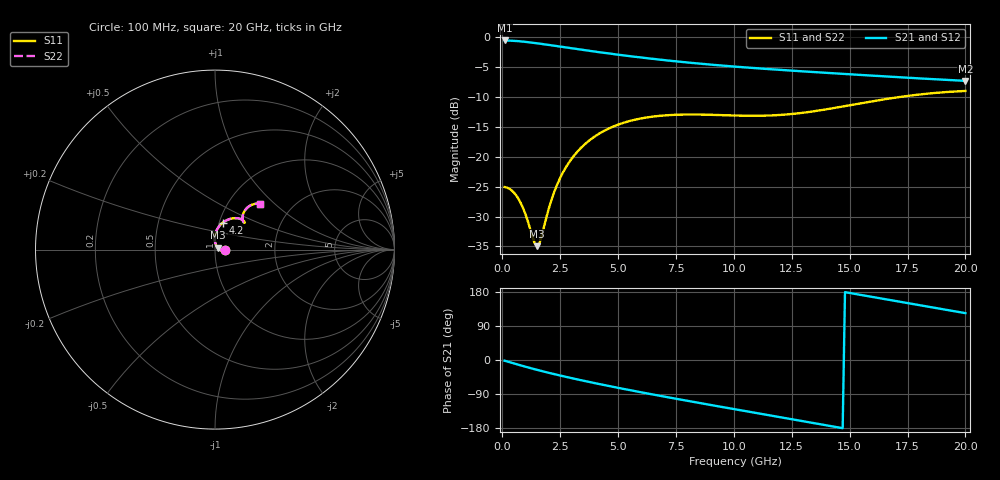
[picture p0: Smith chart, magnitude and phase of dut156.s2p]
! Created with skrf 1.9.0 (http://scikit-rf.org).
# GHz S RI R 50.0
!freq ReS11 ImS11 ReS21 ImS21 ReS12 ImS12 ReS22 ImS22
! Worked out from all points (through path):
!   200 points, 100 MHz to 20 GHz, reference 50 ohm
!   highest |S21| = -0.50 dB at 100 MHz (marker M1); lowest = -7.3 dB at 20 GHz (marker M2)
!   group delay of S21, straight-line fit = 31.4 ps
!   lowest |S11| = -35.0 dB at 1.5 GHz (marker M3), VSWR 1.04, Z = 51.4 + j1.12 ohm
!   |S11| at or under -10 dB: start of sweep to 17.12 GHz
!   |S22| runs from -35.0 to -9.0 dB; largest |S21 - S12| = 2.3e-15
!   S11 on the Smith chart (normalised r, x): 100 MHz: 1.12, -0.00; 4.2 GHz: 1.04, +0.32; 20 GHz: 1.39, +0.81
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0.1  0.0558 -0.00123  0.9431 -0.0304  0.9431 -0.0304  0.0558 -0.00123
0.4  0.0521 -0.00559  0.9315 -0.1189  0.9315 -0.1189  0.0521 -0.00559
0.7  0.0438 -0.00719  0.908 -0.2029  0.908 -0.2029  0.0438 -0.00719
1  0.0328 -0.00441  0.8746 -0.2803  0.8746 -0.2803  0.0328 -0.00441
1.4  0.0176 0.00681  0.8187 -0.3712  0.8187 -0.3712  0.0176 0.00681
1.5  0.0142 0.0108  0.8032 -0.3916  0.8032 -0.3916  0.0142 0.0108
1.6  0.011 0.0153  0.7873 -0.4111  0.7873 -0.4111  0.011 0.0153
2.1  0.000247 0.0422  0.7029 -0.496  0.7029 -0.496  0.000247 0.0422
2.5  -0.00144 0.0666  0.6323 -0.5498  0.6323 -0.5498  -0.00144 0.0666
3  0.00472 0.0966  0.543 -0.6022  0.543 -0.6022  0.00472 0.0966
3.5  0.0182 0.1229  0.4545 -0.6403  0.4545 -0.6403  0.0182 0.1229
4.2  0.0443 0.1508  0.3342 -0.6735  0.3342 -0.6735  0.0443 0.1508
5.4  0.0937 0.1734  0.1429 -0.6865  0.1429 -0.6865  0.0937 0.1734
6.8  0.1383 0.1718  -0.0503 -0.6499  -0.0503 -0.6499  0.1383 0.1718
8.4  0.1625 0.1573  -0.2288 -0.5617  -0.2288 -0.5617  0.1625 0.1573
10.1  0.1637 0.1495  -0.3697 -0.4321  -0.3697 -0.4321  0.1637 0.1495
11.8  0.1557 0.1598  -0.4604 -0.2789  -0.4604 -0.2789  0.1557 0.1598
13.4  0.1535 0.1844  -0.4984 -0.1247  -0.4984 -0.1247  0.1535 0.1844
15  0.1644 0.2148  -0.4908 0.0268  -0.4908 0.0268  0.1644 0.2148
16.7  0.1903 0.2418  -0.4375 0.1706  -0.4375 0.1706  0.1903 0.2418
18.4  0.2232 0.2548  -0.3475 0.2852  -0.3475 0.2852  0.2232 0.2548
20  0.2504 0.2533  -0.2401 0.3603  -0.2401 0.3603  0.2504 0.2533
